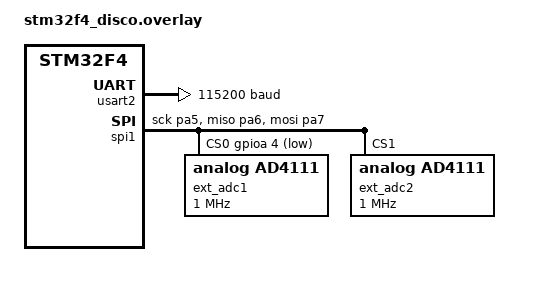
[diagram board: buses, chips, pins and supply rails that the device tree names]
/ {
    chosen {
        zephyr,console = &usart2;
    };
};

&usart2 {
    status = "okay";
    current-speed = <115200>;
};

&spi1 {
    status = "okay";
    pinctrl-names = "default";
    pinctrl-0 = <&spi1_sck_pa5 &spi1_miso_pa6 &spi1_mosi_pa7>;
    cs-gpios = <&gpioa 4 GPIO_ACTIVE_LOW>;

    ext_adc1: ad4111_1@0 {
        compatible = "analog,ad4111";
        reg = <0>;
        spi-max-frequency = <1000000>;
        cs-gpios = <&gpioa 4 GPIO_ACTIVE_LOW>;
        status = "okay";
    };

    ext_adc2: ad4111_2@1 {
        compatible = "analog,ad4111";
        reg = <1>;
        spi-max-frequency = <1000000>;
        cs-gpios = <&gpioa 4 GPIO_ACTIVE_LOW>;
        status = "okay";
    };
};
